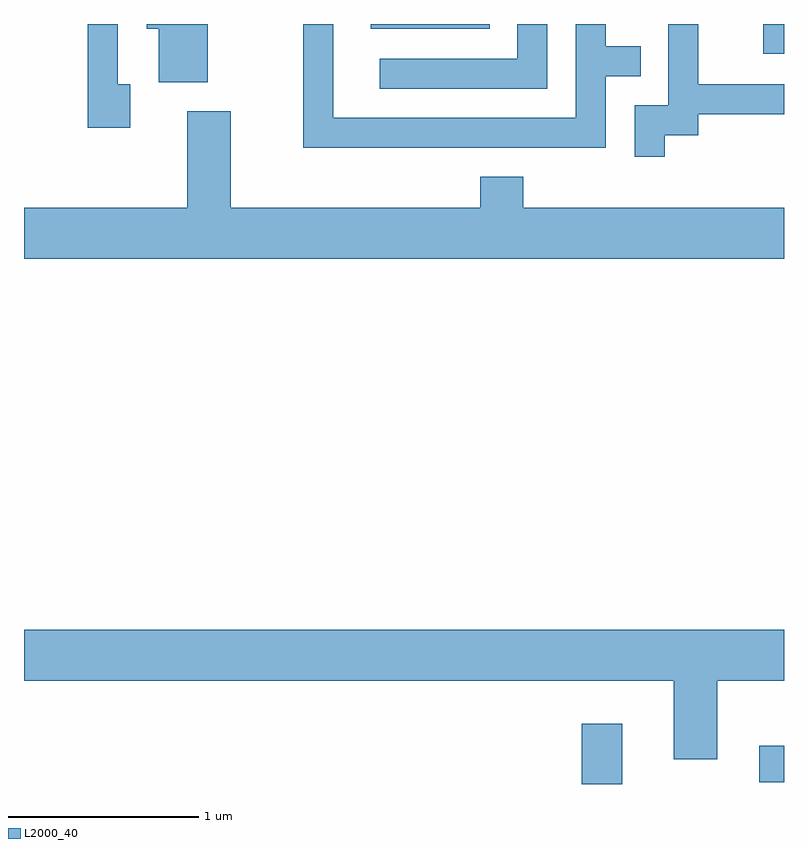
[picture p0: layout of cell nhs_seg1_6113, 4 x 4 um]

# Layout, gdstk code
import gdstk
lib = gdstk.Library(unit=1e-6, precision=1e-09)
def R(c, l, rs):  # rectangles x0, y0, x1, y1
    for r in rs: c.add(gdstk.rectangle(r[:2], r[2:], *l))
def P(c, l, *ps):  # polygons
    for p in ps: c.add(gdstk.Polygon(p, *l))
L2000_40 = (2000, 40)

nhs_seg1_6113 = lib.new_cell('nhs_seg1_6113')
R(nhs_seg1_6113, L2000_40, [(372.546,885.712,372.759,886.029), (373.481,885.721,373.611,885.914), (373.503,889.556,373.611,889.712), (371.436,889.686,372.063,889.712)])
P(nhs_seg1_6113, L2000_40, [(372.984,889.126),(373.159,889.126),(373.159,889.236),(373.611,889.236),(373.611,889.394),(373.159,889.394),(373.159,889.712),(373.001,889.712),(373.001,889.284),(372.826,889.284),(372.826,889.013),(372.984,889.013)],
  [(372.674,889.436),(372.858,889.436),(372.858,889.594),(372.674,889.594),(372.674,889.712),(372.516,889.712),(372.516,889.219),(371.239,889.219),(371.239,889.712),(371.081,889.712),(371.081,889.061),(372.674,889.061)],
  [(370.169,889.394),(370.104,889.394),(370.104,889.712),(369.946,889.712),(369.946,889.166),(370.169,889.166)],
  [(372.364,889.712),(372.206,889.712),(372.206,889.529),(371.483,889.529),(371.483,889.371),(372.364,889.371)],
  [(370.579,889.712),(370.256,889.712),(370.256,889.686),(370.321,889.686),(370.321,889.406),(370.579,889.406)],
  [(373.611,888.744),(372.239,888.744),(372.239,888.909),(372.011,888.909),(372.011,888.744),(370.699,888.744),(370.699,889.254),(370.471,889.254),(370.471,888.744),(369.611,888.744),(369.611,888.476),(373.611,888.476)],
  [(373.259,886.256),(373.611,886.256),(373.611,886.524),(369.611,886.524),(369.611,886.256),(373.031,886.256),(373.031,885.841),(373.259,885.841)])

lib.write_gds('nhs_seg1_6113.gds')
